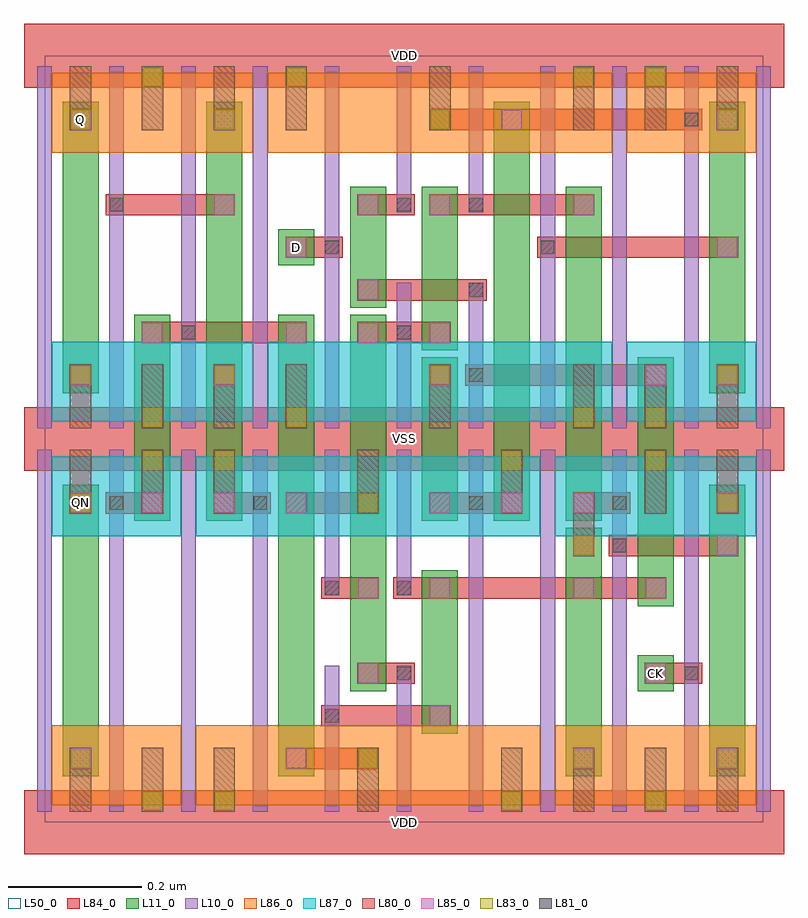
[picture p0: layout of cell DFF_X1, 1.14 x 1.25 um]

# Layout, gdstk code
import gdstk
lib = gdstk.Library(unit=1e-6, precision=1e-09)
def R(c, l, rs):  # rectangles x0, y0, x1, y1
    for r in rs: c.add(gdstk.rectangle(r[:2], r[2:], *l))
def A(c, l, x, y, w, h, nx, ny, dx, dy):  # array of equal rectangles
    R(c, l, [(x+i*dx, y+j*dy, x+i*dx+w, y+j*dy+h) for i in range(nx) for j in range(ny)])
L10_0 = (10, 0)
L11_0 = (11, 0)
L50_0 = (50, 0)
L80_0 = (80, 0)
L81_0 = (81, 0)
L83_0 = (83, 0)
L84_0 = (84, 0)
L85_0 = (85, 0)
L86_0 = (86, 0)
L87_0 = (87, 0)

dff_x1 = lib.new_cell('DFF_X1')
A(dff_x1, L10_0, -0.011, 0.016, 0.022, 0.544, 4, 1, 0.108, 0)
A(dff_x1, L10_0, 0.637, 0.016, 0.022, 0.544, 5, 1, 0.108, 0)
A(dff_x1, L10_0, -0.011, 0.592, 0.022, 0.544, 5, 1, 0.108, 0)
A(dff_x1, L10_0, 0.745, 0.592, 0.022, 0.544, 4, 1, 0.108, 0)
R(dff_x1, L10_0, [(0.421,0.016,0.443,0.235), (0.529,0.016,0.551,0.235), (0.421,0.341,0.443,0.56), (0.529,0.341,0.551,0.56), (0.529,0.592,0.551,0.811), (0.637,0.592,0.659,0.811), (0.529,0.917,0.551,1.136), (0.637,0.917,0.659,1.136)])
R(dff_x1, L11_0, [(0.027,0.069,0.081,0.507), (0.351,0.069,0.405,0.763), (0.783,0.069,0.837,0.443), (0.999,0.069,1.053,0.507), (0.567,0.133,0.621,0.379), (0.459,0.197,0.513,0.763), (0.891,0.197,0.945,0.251), (0.891,0.325,0.945,0.699), (0.135,0.453,0.189,0.763), (0.243,0.453,0.297,1.083), (0.567,0.453,0.621,0.699), (0.675,0.453,0.729,1.083), (0.783,0.453,0.837,0.955), (0.027,0.645,0.081,1.083), (0.999,0.645,1.053,1.083), (0.567,0.709,0.621,0.955), (0.459,0.773,0.513,0.955), (0.351,0.837,0.405,0.891)])
R(dff_x1, L50_0, [(0,0,1.08,1.152)])
A(dff_x1, L80_0, 0.038, 0.016, 0.032, 0.096, 3, 2, 0.108, 0.448)
A(dff_x1, L80_0, 0.686, 0.016, 0.032, 0.096, 4, 1, 0.108, 0)
A(dff_x1, L80_0, 0.47, 0.464, 0.032, 0.096, 3, 1, 0.216, 0)
A(dff_x1, L80_0, 0.038, 0.592, 0.032, 0.096, 4, 2, 0.108, 0.448)
A(dff_x1, L80_0, 0.794, 0.592, 0.032, 0.096, 3, 2, 0.108, 0.448)
R(dff_x1, L80_0, [(0.47,0.016,0.502,0.112), (0.794,0.4,0.826,0.496), (1.01,0.464,1.042,0.56), (0.578,0.592,0.61,0.688), (0.578,1.04,0.61,1.136)])
A(dff_x1, L81_0, 0.638, 0.662, 0.02, 0.02, 1, 3, 0, 0.128)
R(dff_x1, L81_0, [(0.422,0.15,0.442,0.17), (0.53,0.214,0.55,0.234), (0.962,0.214,0.982,0.234), (0.422,0.342,0.442,0.362), (0.53,0.342,0.55,0.362), (0.854,0.406,0.874,0.426), (0.098,0.47,0.118,0.49), (0.314,0.47,0.334,0.49), (0.638,0.47,0.658,0.49), (0.854,0.47,0.874,0.49), (0.206,0.726,0.226,0.746), (0.53,0.726,0.55,0.746), (0.422,0.854,0.442,0.874), (0.746,0.854,0.766,0.874), (0.098,0.918,0.118,0.938), (0.53,0.918,0.55,0.938), (0.962,1.046,0.982,1.066)])
R(dff_x1, L83_0, [(0.148,0.018,0.176,0.046), (0.256,0.018,0.284,0.046), (0.688,0.018,0.716,0.046), (0.904,0.018,0.932,0.046), (0.04,0.082,0.068,0.11), (0.472,0.082,0.5,0.11), (0.796,0.082,0.824,0.11), (1.012,0.082,1.04,0.11), (0.796,0.402,0.824,0.43), (0.04,0.466,0.068,0.494), (0.472,0.466,0.5,0.494), (1.012,0.466,1.04,0.494), (0.148,0.53,0.176,0.558), (0.256,0.53,0.284,0.558), (0.688,0.53,0.716,0.558), (0.904,0.53,0.932,0.558), (0.148,0.594,0.176,0.622), (0.364,0.594,0.392,0.622), (0.796,0.594,0.824,0.622), (0.904,0.594,0.932,0.622), (0.04,0.658,0.068,0.686), (0.256,0.658,0.284,0.686), (0.58,0.658,0.608,0.686), (1.012,0.658,1.04,0.686), (0.04,1.042,0.068,1.07), (0.256,1.042,0.284,1.07), (0.58,1.042,0.608,1.07), (1.012,1.042,1.04,1.07), (0.148,1.106,0.176,1.134), (0.364,1.106,0.392,1.134), (0.796,1.106,0.824,1.134), (0.904,1.106,0.932,1.134)])
A(dff_x1, L84_0, -0.031, -0.048, 1.142, 0.096, 1, 3, 0, 0.576)
R(dff_x1, L84_0, [(0.038,0.08,0.07,0.112), (0.362,0.08,0.502,0.112), (0.794,0.08,0.826,0.112), (1.01,0.08,1.042,0.112), (0.416,0.144,0.61,0.176), (0.47,0.208,0.556,0.24), (0.902,0.208,0.988,0.24), (0.416,0.336,0.502,0.368), (0.524,0.336,0.934,0.368), (0.794,0.4,0.826,0.432), (0.848,0.4,1.042,0.432), (0.038,0.464,0.07,0.496), (0.092,0.464,0.178,0.496), (0.254,0.464,0.34,0.496), (0.362,0.464,0.502,0.496), (0.578,0.464,0.718,0.496), (0.794,0.464,0.88,0.496), (1.01,0.464,1.042,0.496), (0.038,0.656,0.07,0.688), (0.254,0.656,0.286,0.688), (0.578,0.656,0.61,0.688), (0.632,0.656,0.934,0.688), (1.01,0.656,1.042,0.688), (0.146,0.72,0.394,0.752), (0.47,0.72,0.61,0.752), (0.47,0.784,0.664,0.816), (0.362,0.848,0.448,0.88), (0.74,0.848,1.042,0.88), (0.092,0.912,0.286,0.944), (0.47,0.912,0.556,0.944), (0.578,0.912,0.826,0.944), (0.038,1.04,0.07,1.072), (0.254,1.04,0.286,1.072), (0.578,1.04,0.988,1.072), (1.01,1.04,1.042,1.072)])
A(dff_x1, L85_0, 0.039, 0.465, 0.03, 0.03, 4, 1, 0.108, 0)
A(dff_x1, L85_0, 0.579, 0.465, 0.03, 0.03, 3, 1, 0.108, 0)
A(dff_x1, L85_0, 1.011, 0.465, 0.03, 0.03, 1, 4, 0, 0.192)
A(dff_x1, L85_0, 0.255, 0.657, 0.03, 0.03, 3, 1, 0.324, 0)
A(dff_x1, L85_0, 0.363, 0.721, 0.03, 0.03, 3, 1, 0.108, 0)
R(dff_x1, L85_0, [(0.039,0.081,0.069,0.111), (0.363,0.081,0.393,0.111), (0.795,0.081,0.825,0.111), (1.011,0.081,1.041,0.111), (0.579,0.145,0.609,0.175), (0.471,0.209,0.501,0.239), (0.903,0.209,0.933,0.239), (0.471,0.337,0.501,0.367), (0.579,0.337,0.609,0.367), (0.795,0.337,0.825,0.367), (0.903,0.337,0.933,0.367), (0.795,0.401,0.825,0.431), (1.011,0.401,1.041,0.431), (0.039,0.657,0.069,0.687), (0.147,0.721,0.177,0.751), (0.471,0.785,0.501,0.815), (0.363,0.849,0.393,0.879), (0.255,0.913,0.285,0.943), (0.471,0.913,0.501,0.943), (0.579,0.913,0.609,0.943), (0.795,0.913,0.825,0.943), (0.039,1.041,0.069,1.071), (0.255,1.041,0.285,1.071), (0.687,1.041,0.717,1.071)])
R(dff_x1, L86_0, [(0.011,0.026,0.205,0.146), (0.227,0.026,0.745,0.146), (0.767,0.026,1.069,0.146), (0.011,1.006,0.313,1.126), (0.335,1.006,0.853,1.126), (0.875,1.006,1.069,1.126)])
R(dff_x1, L87_0, [(0.011,0.43,0.205,0.55), (0.227,0.43,0.745,0.55), (0.767,0.43,1.069,0.55), (0.011,0.602,0.313,0.722), (0.335,0.602,0.853,0.722), (0.875,0.602,1.069,0.722)])
dff_x1.add(gdstk.Label('VDD', (0.54,1.152), layer=88, texttype=0))
dff_x1.add(gdstk.Label('VDD', (0.54,0), layer=88, texttype=0))
dff_x1.add(gdstk.Label('VSS', (0.54,0.576), layer=88, texttype=0))
dff_x1.add(gdstk.Label('Q', (0.054,1.056), layer=31, texttype=0))
dff_x1.add(gdstk.Label('QN', (0.054,0.48), layer=31, texttype=0))
dff_x1.add(gdstk.Label('CK', (0.918,0.224), layer=31, texttype=0))
dff_x1.add(gdstk.Label('D', (0.378,0.864), layer=31, texttype=0))

lib.write_gds('DFF_X1.gds')
